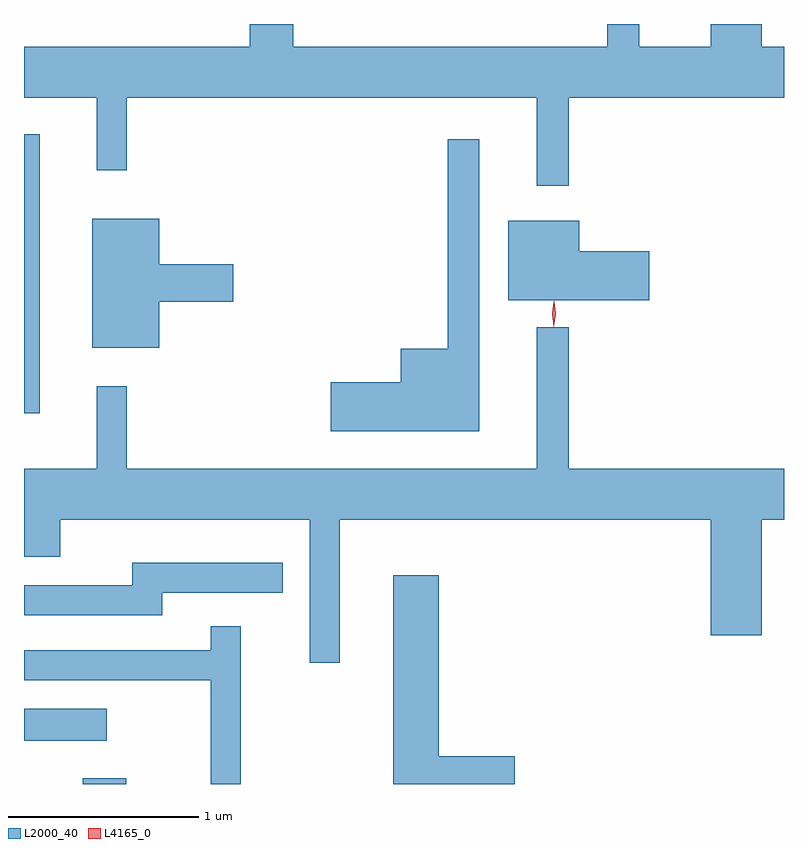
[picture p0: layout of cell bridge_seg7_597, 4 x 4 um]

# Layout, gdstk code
import gdstk
lib = gdstk.Library(unit=1e-6, precision=1e-09)
def R(c, l, rs):  # rectangles x0, y0, x1, y1
    for r in rs: c.add(gdstk.rectangle(r[:2], r[2:], *l))
def P(c, l, *ps):  # polygons
    for p in ps: c.add(gdstk.Polygon(p, *l))
L2000_40 = (2000, 40)
L4165_0 = (4165, 0)

bridge_seg7_597 = lib.new_cell('bridge_seg7_597')
R(bridge_seg7_597, L2000_40, [(811.171,1704.044,811.399,1704.074), (810.862,1704.271,811.298,1704.439), (810.862,1705.996,810.944,1707.463)])
P(bridge_seg7_597, L2000_40, [(813.729,1707.656),(814.862,1707.656),(814.862,1707.924),(814.744,1707.924),(814.744,1708.044),(814.476,1708.044),(814.476,1707.924),(814.099,1707.924),(814.099,1708.044),(813.931,1708.044),(813.931,1707.924),(812.279,1707.924),(812.279,1708.044),(812.051,1708.044),(812.051,1707.924),(810.862,1707.924),(810.862,1707.656),(811.246,1707.656),(811.246,1707.273),(811.404,1707.273),(811.404,1707.656),(813.561,1707.656),(813.561,1707.193),(813.729,1707.193)],
  [(813.259,1707.438),(813.091,1707.438),(813.091,1706.334),(812.846,1706.334),(812.846,1706.159),(812.476,1706.159),(812.476,1705.901),(813.259,1705.901)],
  [(811.574,1706.581),(811.964,1706.581),(811.964,1706.779),(811.574,1706.779),(811.574,1707.019),(811.221,1707.019),(811.221,1706.341),(811.574,1706.341)],
  [(814.154,1706.849),(813.784,1706.849),(813.784,1707.009),(813.411,1707.009),(813.411,1706.591),(814.154,1706.591)],
  [(812.524,1705.436),(814.476,1705.436),(814.476,1704.826),(814.744,1704.826),(814.744,1705.436),(814.862,1705.436),(814.862,1705.704),(813.729,1705.704),(813.729,1706.448),(813.561,1706.448),(813.561,1705.704),(811.404,1705.704),(811.404,1706.138),(811.246,1706.138),(811.246,1705.704),(810.862,1705.704),(810.862,1705.241),(811.054,1705.241),(811.054,1705.436),(812.366,1705.436),(812.366,1704.683),(812.524,1704.683)],
  [(811.589,1705.051),(812.223,1705.051),(812.223,1705.209),(811.431,1705.209),(811.431,1705.089),(810.862,1705.089),(810.862,1704.931),(811.589,1704.931)],
  [(813.444,1704.189),(813.044,1704.189),(813.044,1705.144),(812.806,1705.144),(812.806,1704.044),(813.444,1704.044)],
  [(812.004,1704.873),(811.846,1704.873),(811.846,1704.749),(810.862,1704.749),(810.862,1704.591),(811.846,1704.591),(811.846,1704.044),(812.004,1704.044)])
P(bridge_seg7_597, L4165_0, [(813.649,1706.45),(813.641,1706.518),(813.651,1706.586),(813.652,1706.586),(813.652,1706.586),(813.661,1706.518),(813.65,1706.45),(813.65,1706.45)],
  [(813.649,1706.453),(813.641,1706.516),(813.651,1706.579),(813.652,1706.58),(813.652,1706.579),(813.661,1706.516),(813.65,1706.453),(813.65,1706.453)])

lib.write_gds('bridge_seg7_597.gds')
